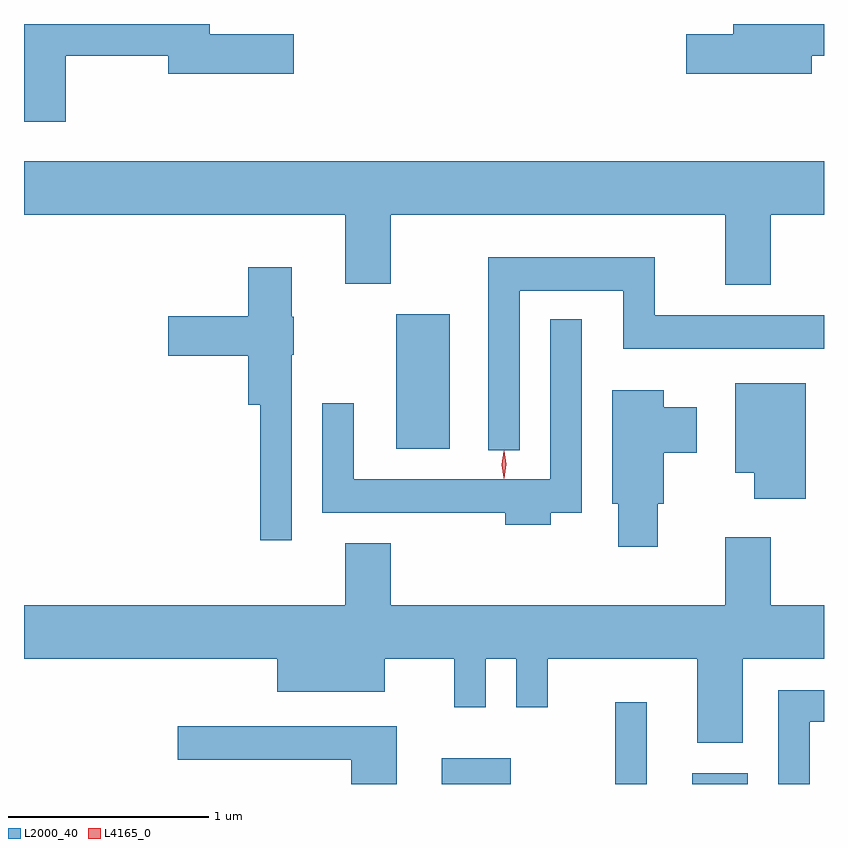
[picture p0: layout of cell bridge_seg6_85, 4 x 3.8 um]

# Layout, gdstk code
import gdstk
lib = gdstk.Library(unit=1e-6, precision=1e-09)
def R(c, l, rs):  # rectangles x0, y0, x1, y1
    for r in rs: c.add(gdstk.rectangle(r[:2], r[2:], *l))
def P(c, l, *ps):  # polygons
    for p in ps: c.add(gdstk.Polygon(p, *l))
L2000_40 = (2000, 40)
L4165_0 = (4165, 0)

bridge_seg6_85 = lib.new_cell('bridge_seg6_85')
R(bridge_seg6_85, L2000_40, [(1327.373,1658.189,1327.719,1658.319), (1328.241,1658.189,1328.399,1658.598), (1328.626,1658.189,1328.904,1658.244), (1327.146,1659.866,1327.414,1660.539)])
P(bridge_seg6_85, L2000_40, [(1329.224,1661.831),(1329.285,1661.831),(1329.285,1661.989),(1328.831,1661.989),(1328.831,1661.939),(1328.596,1661.939),(1328.596,1661.741),(1329.224,1661.741)],
  [(1325.494,1661.831),(1326.006,1661.831),(1326.006,1661.741),(1326.634,1661.741),(1326.634,1661.939),(1326.214,1661.939),(1326.214,1661.989),(1325.285,1661.989),(1325.285,1661.501),(1325.494,1661.501)],
  [(1329.019,1661.036),(1329.285,1661.036),(1329.285,1661.304),(1325.285,1661.304),(1325.285,1661.036),(1326.891,1661.036),(1326.891,1660.691),(1327.119,1660.691),(1327.119,1661.036),(1328.791,1661.036),(1328.791,1660.686),(1329.019,1660.686)],
  [(1327.764,1660.656),(1328.281,1660.656),(1328.281,1660.366),(1329.285,1660.366),(1329.285,1660.534),(1328.439,1660.534),(1328.439,1660.824),(1327.606,1660.824),(1327.606,1659.858),(1327.764,1659.858)],
  [(1326.624,1660.335),(1326.634,1660.335),(1326.634,1660.525),(1326.624,1660.525),(1326.624,1660.774),(1326.406,1660.774),(1326.406,1660.529),(1326.006,1660.529),(1326.006,1660.331),(1326.406,1660.331),(1326.406,1660.086),(1326.466,1660.086),(1326.466,1659.408),(1326.624,1659.408)],
  [(1327.919,1659.546),(1328.074,1659.546),(1328.074,1660.513),(1327.916,1660.513),(1327.916,1659.714),(1326.934,1659.714),(1326.934,1660.093),(1326.776,1660.093),(1326.776,1659.546),(1327.691,1659.546),(1327.691,1659.486),(1327.919,1659.486)],
  [(1329.194,1660.194),(1328.841,1660.194),(1328.841,1659.746),(1328.936,1659.746),(1328.936,1659.616),(1329.194,1659.616)],
  [(1328.454,1659.591),(1328.484,1659.591),(1328.484,1659.846),(1328.649,1659.846),(1328.649,1660.074),(1328.484,1660.074),(1328.484,1660.159),(1328.226,1660.159),(1328.226,1659.591),(1328.256,1659.591),(1328.256,1659.376),(1328.454,1659.376)],
  [(1328.879,1658.816),(1329.285,1658.816),(1329.285,1659.084),(1329.019,1659.084),(1329.019,1659.424),(1328.791,1659.424),(1328.791,1659.084),(1327.119,1659.084),(1327.119,1659.394),(1326.891,1659.394),(1326.891,1659.084),(1325.285,1659.084),(1325.285,1658.816),(1326.551,1658.816),(1326.551,1658.651),(1327.089,1658.651),(1327.089,1658.816),(1327.436,1658.816),(1327.436,1658.573),(1327.594,1658.573),(1327.594,1658.816),(1327.746,1658.816),(1327.746,1658.573),(1327.904,1658.573),(1327.904,1658.816),(1328.651,1658.816),(1328.651,1658.396),(1328.879,1658.396)],
  [(1329.214,1658.501),(1329.285,1658.501),(1329.285,1658.659),(1329.056,1658.659),(1329.056,1658.189),(1329.214,1658.189)],
  [(1327.149,1658.479),(1326.053,1658.479),(1326.053,1658.311),(1326.921,1658.311),(1326.921,1658.189),(1327.149,1658.189)])
P(bridge_seg6_85, L4165_0, [(1327.684,1659.719),(1327.684,1659.72),(1327.674,1659.786),(1327.684,1659.852),(1327.684,1659.853),(1327.685,1659.852),(1327.694,1659.786),(1327.685,1659.72)],
  [(1327.686,1659.717),(1327.686,1659.718),(1327.676,1659.787),(1327.686,1659.856),(1327.686,1659.856),(1327.686,1659.856),(1327.696,1659.787),(1327.687,1659.718)])

lib.write_gds('bridge_seg6_85.gds')
